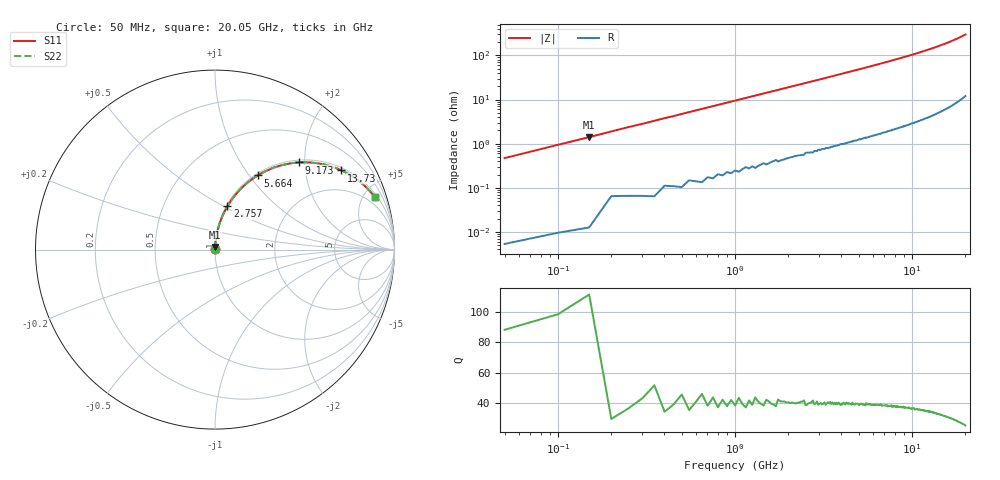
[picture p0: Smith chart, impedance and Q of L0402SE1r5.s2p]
# MHZ S MA R 50
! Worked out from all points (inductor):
!   400 points, 50 MHz to 20.05 GHz, reference 50 ohm
!   read as one part in series: L = 1.5 nH near 150.3 MHz
!   highest Q = 88.3 at 150.3 MHz (marker M1), where L = 1.49 nH
!   S11 on the Smith chart (normalised r, x): 50 MHz: 1.00, +0.01; 2.757 GHz: 1.01, +0.52; 5.664 GHz: 1.03, +1.10; 9.173 GHz: 1.05, +1.87; 13.73 GHz: 1.10, +3.13; 20.05 GHz: 1.25, +5.98
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50  0.004713 88.3  1 -0.3  1 -0.3  0.004713 88.3
100.125  0.009437 88.0  1 -0.5  1 -0.5  0.009437 88.0
150.251  0.014 87.8  1 -0.8  1 -0.8  0.014 87.8
200.376  0.019 87.5  0.999 -1.1  0.999 -1.1  0.019 87.5
250.501  0.024 87.2  0.999 -1.4  0.999 -1.4  0.024 87.2
400.877  0.038 86.4  0.998 -2.2  0.998 -2.2  0.038 86.4
601.378  0.057 85.3  0.997 -3.2  0.997 -3.2  0.057 85.3
902.13  0.085 83.7  0.994 -4.9  0.994 -4.9  0.085 83.7
1202.882  0.113 82.1  0.991 -6.5  0.991 -6.5  0.113 82.1
1654.01  0.154 79.7  0.984 -8.8  0.984 -8.8  0.154 79.7
2105.138  0.195 77.3  0.976 -11.2  0.976 -11.2  0.195 77.3
2756.767  0.252 74.0  0.962 -14.6  0.962 -14.6  0.252 74.0
3408.396  0.307 70.7  0.944 -17.9  0.944 -17.9  0.307 70.7
4360.777  0.383 66.1  0.914 -22.5  0.914 -22.5  0.383 66.1
5664.035  0.477 60.1  0.867 -28.5  0.867 -28.5  0.477 60.1
6716.667  0.545 55.5  0.825 -33.0  0.825 -33.0  0.545 55.5
9172.807  0.675 46.0  0.72 -42.4  0.72 -42.4  0.675 46.0
10075.06  0.714 42.9  0.681 -45.5  0.681 -45.5  0.714 42.9
13433.46  0.824 32.9  0.543 -55.4  0.543 -55.4  0.824 32.9
13734.21  0.831 32.1  0.531 -56.2  0.531 -56.2  0.831 32.1
16741.73  0.893 24.8  0.42 -63.2  0.42 -63.2  0.893 24.8
20050  0.937 18.2  0.313 -69.5  0.313 -69.5  0.937 18.2
